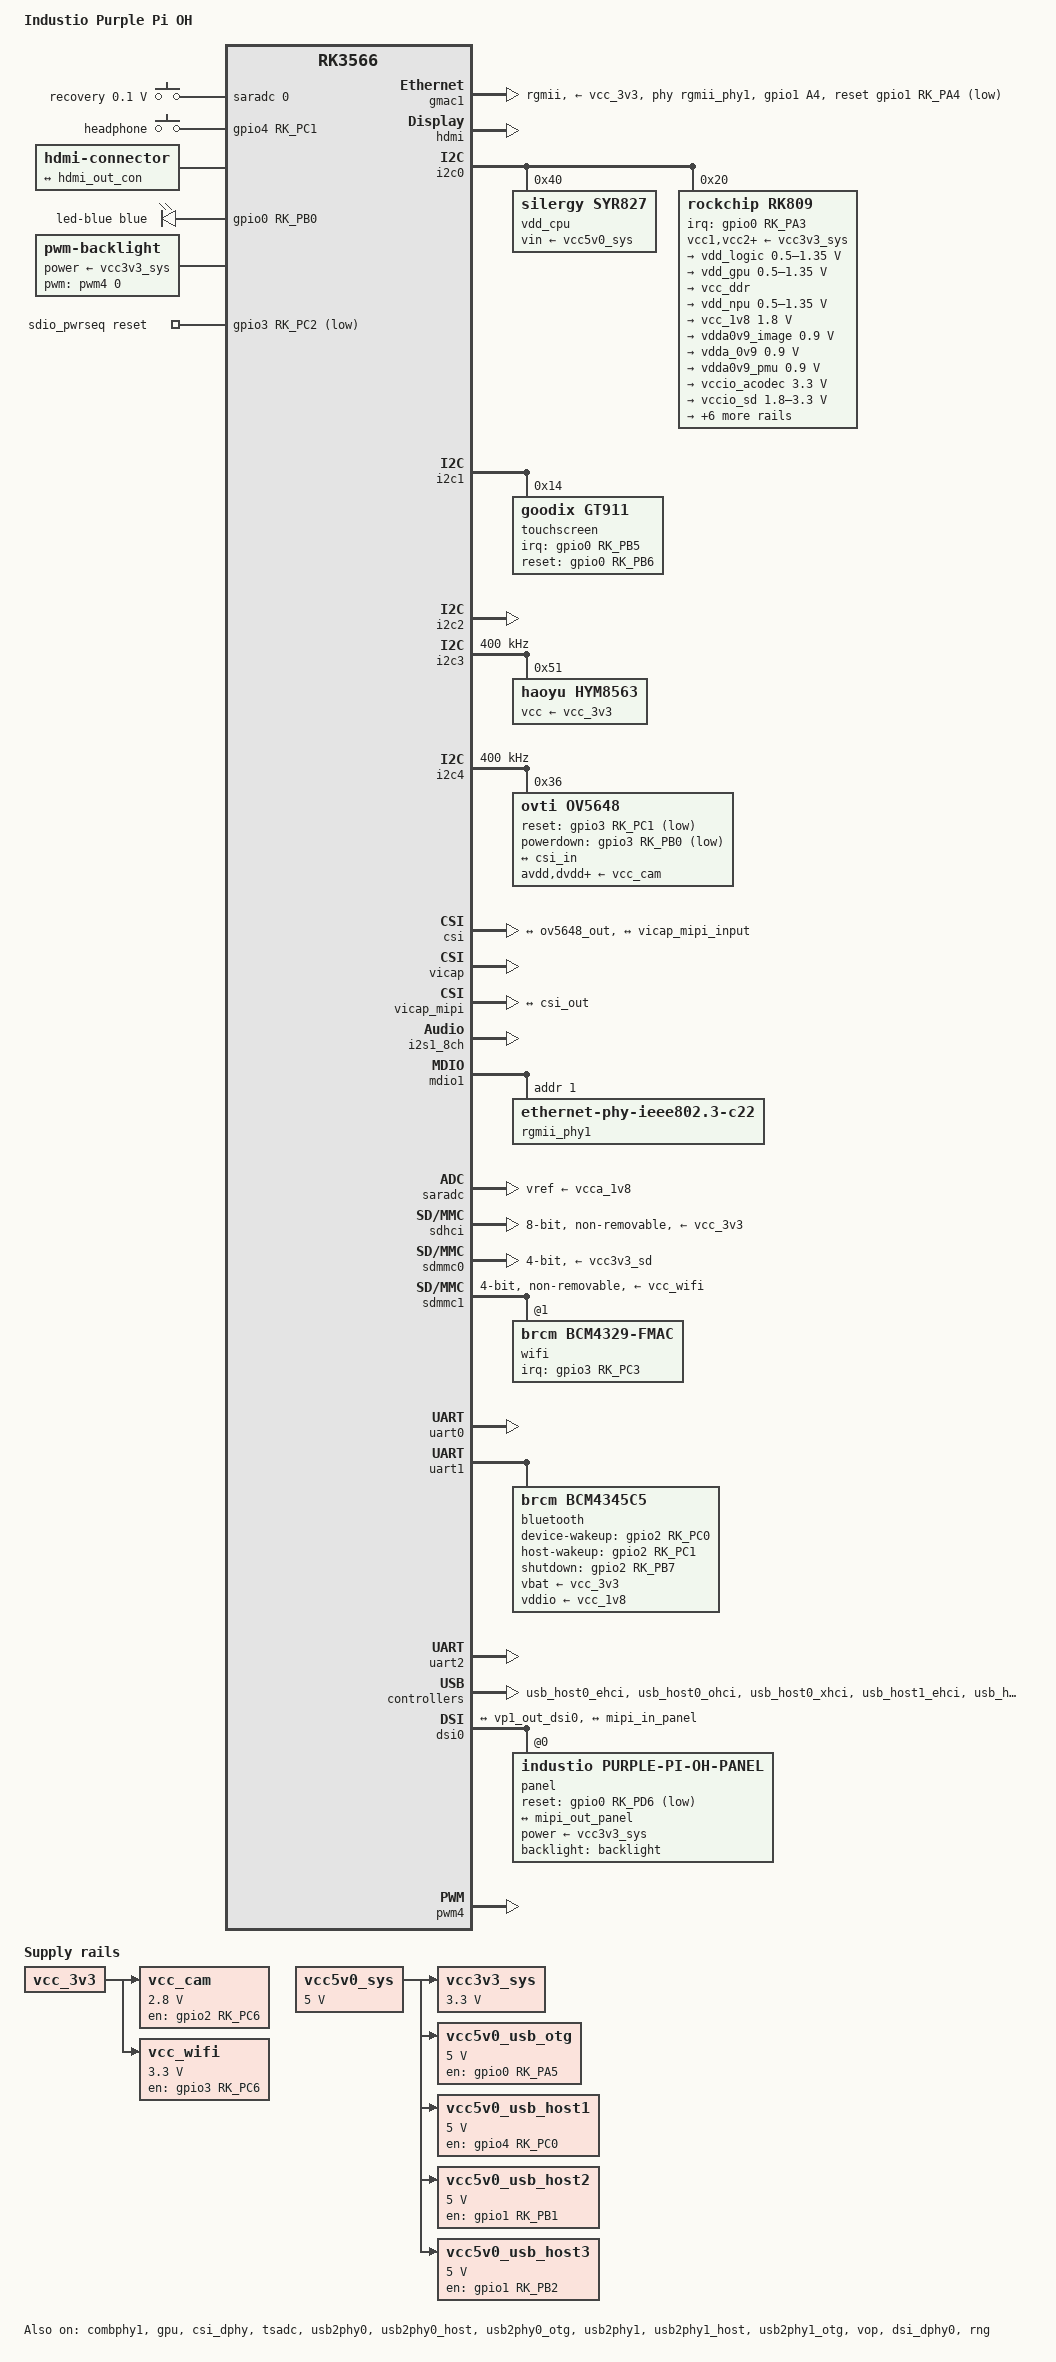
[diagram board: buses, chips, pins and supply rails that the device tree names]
// SPDX-License-Identifier: (GPL-2.0+ OR MIT)
/*
 * Purple Pi OH (Industio / 触觉智能) - RK3566
 *
 * Based on the Purple Pi OH V1 schematic (2023-06-19) and the vendor
 * boot log.  Key differences from the Radxa ZERO 3W:
 *   - RK809-5 PMIC (not RK817)
 *   - SYR837 CPU buck at I2C0 0x40
 *   - VCCIO5 is 1.8V (GMAC1 / WiFi / camera)
 *   - WiFi: WL_REG_ON=GPIO3_C2, WL_HOST_WAKE=GPIO3_C3
 *   - BT:   BT_REG_ON=GPIO2_B7, BT_WAKE=GPIO2_C0, HOST_WAKE=GPIO2_C1
 *   - GMAC1 + RTL8211F, reset GPIO1_A4
 *   - microSD on SDMMC0, card detect GPIO0_A4
 */

/dts-v1/;

#include <dt-bindings/gpio/gpio.h>
#include <dt-bindings/input/linux-event-codes.h>
#include <dt-bindings/interrupt-controller/irq.h>
#include <dt-bindings/leds/common.h>
#include <dt-bindings/media/video-interfaces.h>
#include <dt-bindings/pinctrl/rockchip.h>
#include <dt-bindings/soc/rockchip,vop2.h>
#include "rk3566.dtsi"

/ {
	model = "Industio Purple Pi OH";
	compatible = "industio,purple-pi-oh", "rockchip,rk3566";

	aliases {
		ethernet0 = &gmac1;
		mmc0 = &sdhci;
		mmc1 = &sdmmc0;
		mmc2 = &sdmmc1;
		rtc1 = &rk809;
	};

	chosen {
		stdout-path = "serial2:1500000n8";
	};

	/*
	 * SARADC_VIN0_KEY / RECOVERY (SW1).  The vendor DT uses a resistor
	 * ladder; on this board the key pulls the channel to ground through
	 * R313 (100R).  Unpressed the channel sits at the 1.8V reference
	 * (raw 1023), so keep the key-up threshold just below full scale.
	 */
	adc-keys {
		compatible = "adc-keys";
		io-channels = <&saradc 0>;
		io-channel-names = "buttons";
		keyup-threshold-microvolt = <1700000>;
		poll-interval = <100>;

		button-recovery {
			label = "recovery";
			/*
			 * Do not use KEY_RESTART here: systemd-logind treats it as
			 * the reboot key (HandleRebootKey=reboot) and reboots the
			 * board as soon as the button is pressed.  KEY_PROG1 only
			 * generates an input event.
			 */
			linux,code = <KEY_PROG1>;
			press-threshold-microvolt = <100000>;
		};
	};

	/*
	 * Headphone jack detect (HP_DET, GPIO4_C1).  The jack switch is
	 * closed to ground when the socket is empty and opens when a plug
	 * is inserted, so the line floats high via the SoC pull-up while
	 * headphones are plugged in (measured on the board).
	 */
	hp-det {
		compatible = "gpio-keys";
		pinctrl-names = "default";
		pinctrl-0 = <&hp_det_h>;

		headphone-switch {
			label = "headphone";
			gpios = <&gpio4 RK_PC1 GPIO_ACTIVE_HIGH>;
			linux,input-type = <EV_SW>;
			linux,code = <SW_HEADPHONE_INSERT>;
			debounce-interval = <100>;
		};
	};

	hdmi-con {
		compatible = "hdmi-connector";
		type = "a";

		port {
			hdmi_con_in: endpoint {
				remote-endpoint = <&hdmi_out_con>;
			};
		};
	};

	leds {
		compatible = "gpio-leds";
		pinctrl-names = "default";
		pinctrl-0 = <&working_led>;

		led-blue {
			color = <LED_COLOR_ID_BLUE>;
			function = LED_FUNCTION_HEARTBEAT;
			gpios = <&gpio0 RK_PB0 GPIO_ACTIVE_HIGH>;
			linux,default-trigger = "heartbeat";
		};
	};

	backlight: backlight {
		compatible = "pwm-backlight";
		brightness-levels = <0 4 8 16 32 64 96 128 160 192 224 255>;
		default-brightness-level = <9>;
		power-supply = <&vcc3v3_sys>;
		pwms = <&pwm4 0 25000 0>;
	};

	rk809-sound {
		compatible = "simple-audio-card";
		simple-audio-card,format = "i2s";
		simple-audio-card,name = "Analog RK809";
		simple-audio-card,mclk-fs = <256>;
		status = "okay";

		simple-audio-card,cpu {
			sound-dai = <&i2s1_8ch>;
		};

		simple-audio-card,codec {
			sound-dai = <&rk809>;
		};
	};

	sdio_pwrseq: sdio-pwrseq {
		compatible = "mmc-pwrseq-simple";
		clocks = <&rk809 1>;
		clock-names = "ext_clock";
		pinctrl-names = "default";
		pinctrl-0 = <&wifi_reg_on_h>;
		post-power-on-delay-ms = <100>;
		power-off-delay-us = <5000000>;
		reset-gpios = <&gpio3 RK_PC2 GPIO_ACTIVE_LOW>;
	};

	vcc5v0_sys: regulator-vcc5v0-sys {
		compatible = "regulator-fixed";
		regulator-name = "vcc5v0_sys";
		regulator-always-on;
		regulator-boot-on;
		regulator-min-microvolt = <5000000>;
		regulator-max-microvolt = <5000000>;
	};

	vcc3v3_sys: regulator-vcc3v3-sys {
		compatible = "regulator-fixed";
		regulator-name = "vcc3v3_sys";
		regulator-always-on;
		regulator-boot-on;
		regulator-min-microvolt = <3300000>;
		regulator-max-microvolt = <3300000>;
		vin-supply = <&vcc5v0_sys>;
	};

	/*
	 * The MIPI CSI connector (J22) has three LDOs (2.8V, 1.8V, 1.5V),
	 * all gated by the same Camera_EN signal (GPIO2_C6, active high).
	 * Model them as one fixed supply: the OV5648 driver only enables and
	 * disables the rails, it never changes their voltage, and a fixed
	 * regulator must not advertise a voltage range.  Keep it off until
	 * streaming; the sensor does not need power at probe time.
	 */
	vcc_cam: regulator-vcc-cam {
		compatible = "regulator-fixed";
		enable-active-high;
		gpios = <&gpio2 RK_PC6 GPIO_ACTIVE_HIGH>;
		pinctrl-names = "default";
		pinctrl-0 = <&camera_pwren_h>;
		regulator-name = "vcc_cam";
		regulator-min-microvolt = <2800000>;
		regulator-max-microvolt = <2800000>;
		vin-supply = <&vcc_3v3>;
	};

	vcc_wifi: regulator-vcc-wifi {
		compatible = "regulator-fixed";
		enable-active-high;
		gpios = <&gpio3 RK_PC6 GPIO_ACTIVE_HIGH>;
		pinctrl-names = "default";
		pinctrl-0 = <&wifi_pwren_h>;
		regulator-name = "vcc_wifi";
		/*
		 * Do not keep this always-on: the SDIO host must be able to cut
		 * power to the BCM43455 so that a warm reboot (or an unbind/
		 * bind cycle) really resets the chip instead of leaving its
		 * firmware wedged.
		 */
		regulator-boot-on;
		regulator-min-microvolt = <3300000>;
		regulator-max-microvolt = <3300000>;
		vin-supply = <&vcc_3v3>;
	};

	vcc5v0_usb_otg: regulator-vcc5v0-usb-otg {
		compatible = "regulator-fixed";
		enable-active-high;
		gpios = <&gpio0 RK_PA5 GPIO_ACTIVE_HIGH>;
		pinctrl-names = "default";
		pinctrl-0 = <&usb_otg_pwren_h>;
		regulator-name = "vcc5v0_usb_otg";
		regulator-min-microvolt = <5000000>;
		regulator-max-microvolt = <5000000>;
		vin-supply = <&vcc5v0_sys>;
	};

	vcc5v0_usb_host1: regulator-vcc5v0-usb-host1 {
		compatible = "regulator-fixed";
		enable-active-high;
		gpios = <&gpio4 RK_PC0 GPIO_ACTIVE_HIGH>;
		pinctrl-names = "default";
		pinctrl-0 = <&usb_host1_pwren_h>;
		regulator-name = "vcc5v0_usb_host1";
		regulator-min-microvolt = <5000000>;
		regulator-max-microvolt = <5000000>;
		vin-supply = <&vcc5v0_sys>;
	};

	vcc5v0_usb_host2: regulator-vcc5v0-usb-host2 {
		compatible = "regulator-fixed";
		enable-active-high;
		gpios = <&gpio1 RK_PB1 GPIO_ACTIVE_HIGH>;
		pinctrl-names = "default";
		pinctrl-0 = <&usb_host2_pwren_h>;
		regulator-name = "vcc5v0_usb_host2";
		regulator-min-microvolt = <5000000>;
		regulator-max-microvolt = <5000000>;
		vin-supply = <&vcc5v0_sys>;
	};

	vcc5v0_usb_host3: regulator-vcc5v0-usb-host3 {
		compatible = "regulator-fixed";
		enable-active-high;
		gpios = <&gpio1 RK_PB2 GPIO_ACTIVE_HIGH>;
		pinctrl-names = "default";
		pinctrl-0 = <&usb_host3_pwren_h>;
		regulator-name = "vcc5v0_usb_host3";
		regulator-min-microvolt = <5000000>;
		regulator-max-microvolt = <5000000>;
		vin-supply = <&vcc5v0_sys>;
	};
};

/* USB3 host (usb_host0_xhci) uses this PHY. */
&combphy1 {
	status = "okay";
};

&cpu0 {
	cpu-supply = <&vdd_cpu>;
};

&cpu1 {
	cpu-supply = <&vdd_cpu>;
};

&cpu2 {
	cpu-supply = <&vdd_cpu>;
};

&cpu3 {
	cpu-supply = <&vdd_cpu>;
};

&gmac1 {
	/*
	 * The PHY's CLKOUT only provides 25 MHz, which is not enough for
	 * 1000BASE-T.  Feed the MAC from the internal 125 MHz clock instead;
	 * the MAC still generates TXC for the PHY.
	 */
	assigned-clocks = <&cru SCLK_GMAC1_RX_TX>, <&cru SCLK_GMAC1>;
	assigned-clock-parents = <&cru SCLK_GMAC1_RGMII_SPEED>, <&cru CLK_MAC1_2TOP>;
	assigned-clock-rates = <0>, <125000000>;
	clock_in_out = "input";
	phy-handle = <&rgmii_phy1>;
	/*
	 * Actual PHY is a Motorcomm YT8531 (ID 0x4f51e91b) on address 1;
	 * the vendor schematic labels it RTL8211F.  The board straps the
	 * PHY's internal RGMII delays off, so use MAC-side delays.
	 */
	phy-mode = "rgmii";
	tx_delay = <0x32>;
	rx_delay = <0x26>;
	phy-supply = <&vcc_3v3>;
	/*
	 * Drive PHY reset from the MAC before the MDIO bus is scanned.
	 */
	snps,reset-gpio = <&gpio1 RK_PA4 GPIO_ACTIVE_LOW>;
	snps,reset-delays-us = <0 50000 100000>;
	pinctrl-names = "default";
	pinctrl-0 = <&gmac1m0_miim
		     &gmac1m0_tx_bus2
		     &gmac1m0_rx_bus2
		     &gmac1m0_rgmii_clk
		     &gmac1m0_rgmii_bus
		     &gmac1m0_clkinout
		     &gmac1_rstn>;
	status = "okay";
};

&gpu {
	mali-supply = <&vdd_gpu>;
	status = "okay";
};

&hdmi {
	avdd-0v9-supply = <&vdda0v9_image>;
	avdd-1v8-supply = <&vcca1v8_image>;
	status = "okay";
};

&hdmi_in {
	hdmi_in_vp0: endpoint {
		remote-endpoint = <&vp0_out_hdmi>;
	};
};

&hdmi_out {
	hdmi_out_con: endpoint {
		remote-endpoint = <&hdmi_con_in>;
	};
};

&i2c0 {
	status = "okay";

	vdd_cpu: regulator@40 {
		compatible = "silergy,syr827";
		reg = <0x40>;
		fcs,suspend-voltage-selector = <1>;
		regulator-name = "vdd_cpu";
		regulator-always-on;
		regulator-boot-on;
		regulator-min-microvolt = <712500>;
		regulator-max-microvolt = <1390000>;
		regulator-ramp-delay = <2300>;
		vin-supply = <&vcc5v0_sys>;

		regulator-state-mem {
			regulator-off-in-suspend;
		};
	};

	rk809: pmic@20 {
		compatible = "rockchip,rk809";
		reg = <0x20>;
		interrupt-parent = <&gpio0>;
		interrupts = <RK_PA3 IRQ_TYPE_LEVEL_LOW>;
		#clock-cells = <1>;
		#sound-dai-cells = <0>;
		clock-output-names = "rk808-clkout1", "rk808-clkout2";
		assigned-clocks = <&cru I2S1_MCLKOUT_TX>;
		assigned-clock-parents = <&cru CLK_I2S1_8CH_TX>;
		clocks = <&cru I2S1_MCLKOUT_TX>;
		clock-names = "mclk";
		pinctrl-names = "default";
		pinctrl-0 = <&pmic_int_l>, <&i2s1m0_mclk>;
		system-power-controller;
		wakeup-source;

		vcc1-supply = <&vcc3v3_sys>;
		vcc2-supply = <&vcc3v3_sys>;
		vcc3-supply = <&vcc3v3_sys>;
		vcc4-supply = <&vcc3v3_sys>;
		vcc5-supply = <&vcc3v3_sys>;
		vcc6-supply = <&vcc3v3_sys>;
		vcc7-supply = <&vcc3v3_sys>;
		vcc8-supply = <&vcc3v3_sys>;
		vcc9-supply = <&vcc3v3_sys>;

		codec {
			/* MIC2_IN is single-ended on this board */
		};

		regulators {
			vdd_logic: DCDC_REG1 {
				regulator-name = "vdd_logic";
				regulator-always-on;
				regulator-boot-on;
				regulator-initial-mode = <0x2>;
				regulator-min-microvolt = <500000>;
				regulator-max-microvolt = <1350000>;
				regulator-ramp-delay = <6001>;

				regulator-state-mem {
					regulator-off-in-suspend;
					regulator-suspend-microvolt = <900000>;
				};
			};

			vdd_gpu: DCDC_REG2 {
				regulator-name = "vdd_gpu";
				regulator-always-on;
				regulator-boot-on;
				regulator-initial-mode = <0x2>;
				regulator-min-microvolt = <500000>;
				regulator-max-microvolt = <1350000>;
				regulator-ramp-delay = <6001>;

				regulator-state-mem {
					regulator-off-in-suspend;
				};
			};

			vcc_ddr: DCDC_REG3 {
				regulator-name = "vcc_ddr";
				regulator-always-on;
				regulator-boot-on;
				regulator-initial-mode = <0x2>;

				regulator-state-mem {
					regulator-on-in-suspend;
				};
			};

			vdd_npu: DCDC_REG4 {
				regulator-name = "vdd_npu";
				regulator-always-on;
				regulator-boot-on;
				regulator-initial-mode = <0x2>;
				regulator-min-microvolt = <500000>;
				regulator-max-microvolt = <1350000>;
				regulator-ramp-delay = <6001>;

				regulator-state-mem {
					regulator-off-in-suspend;
				};
			};

			vcc_1v8: DCDC_REG5 {
				regulator-name = "vcc_1v8";
				regulator-always-on;
				regulator-boot-on;
				regulator-min-microvolt = <1800000>;
				regulator-max-microvolt = <1800000>;

				regulator-state-mem {
					regulator-off-in-suspend;
				};
			};

			vdda0v9_image: LDO_REG1 {
				regulator-name = "vdda0v9_image";
				regulator-always-on;
				regulator-boot-on;
				regulator-min-microvolt = <900000>;
				regulator-max-microvolt = <900000>;

				regulator-state-mem {
					regulator-off-in-suspend;
				};
			};

			vdda_0v9: LDO_REG2 {
				regulator-name = "vdda_0v9";
				regulator-always-on;
				regulator-boot-on;
				regulator-min-microvolt = <900000>;
				regulator-max-microvolt = <900000>;

				regulator-state-mem {
					regulator-off-in-suspend;
				};
			};

			vdda0v9_pmu: LDO_REG3 {
				regulator-name = "vdda0v9_pmu";
				regulator-always-on;
				regulator-boot-on;
				regulator-min-microvolt = <900000>;
				regulator-max-microvolt = <900000>;

				regulator-state-mem {
					regulator-on-in-suspend;
					regulator-suspend-microvolt = <900000>;
				};
			};

			vccio_acodec: LDO_REG4 {
				regulator-name = "vccio_acodec";
				regulator-always-on;
				regulator-boot-on;
				regulator-min-microvolt = <3300000>;
				regulator-max-microvolt = <3300000>;

				regulator-state-mem {
					regulator-off-in-suspend;
				};
			};

			vccio_sd: LDO_REG5 {
				regulator-name = "vccio_sd";
				regulator-always-on;
				regulator-boot-on;
				regulator-min-microvolt = <1800000>;
				regulator-max-microvolt = <3300000>;

				regulator-state-mem {
					regulator-off-in-suspend;
				};
			};

			vcc3v3_pmu: LDO_REG6 {
				regulator-name = "vcc3v3_pmu";
				regulator-always-on;
				regulator-boot-on;
				regulator-min-microvolt = <3300000>;
				regulator-max-microvolt = <3300000>;

				regulator-state-mem {
					regulator-on-in-suspend;
					regulator-suspend-microvolt = <3300000>;
				};
			};

			vcca_1v8: LDO_REG7 {
				regulator-name = "vcca_1v8";
				regulator-always-on;
				regulator-boot-on;
				regulator-min-microvolt = <1800000>;
				regulator-max-microvolt = <1800000>;

				regulator-state-mem {
					regulator-off-in-suspend;
				};
			};

			vcca1v8_pmu: LDO_REG8 {
				regulator-name = "vcca1v8_pmu";
				regulator-always-on;
				regulator-boot-on;
				regulator-min-microvolt = <1800000>;
				regulator-max-microvolt = <1800000>;

				regulator-state-mem {
					regulator-on-in-suspend;
					regulator-suspend-microvolt = <1800000>;
				};
			};

			vcca1v8_image: LDO_REG9 {
				regulator-name = "vcca1v8_image";
				regulator-always-on;
				regulator-boot-on;
				regulator-min-microvolt = <1800000>;
				regulator-max-microvolt = <1800000>;

				regulator-state-mem {
					regulator-off-in-suspend;
				};
			};

			vcc_3v3: SWITCH_REG1 {
				regulator-name = "vcc_3v3";
				regulator-always-on;
				regulator-boot-on;

				regulator-state-mem {
					regulator-on-in-suspend;
				};
			};

			vcc3v3_sd: SWITCH_REG2 {
				regulator-name = "vcc3v3_sd";
				regulator-always-on;
				regulator-boot-on;

				regulator-state-mem {
					regulator-off-in-suspend;
				};
			};
		};
	};
};

&i2c1 {
	status = "okay";

	/*
	 * Goodix GT911 on the MIPI-DSI connector.
	 * From the vendor DTB: i2c1 @0x14, INT=GPIO0_B5, RST=GPIO0_B6.
	 */
	touchscreen@14 {
		compatible = "goodix,gt911";
		reg = <0x14>;
		interrupt-parent = <&gpio0>;
		interrupts = <RK_PB5 IRQ_TYPE_LEVEL_LOW>;
		/*
		 * The mainline goodix driver needs the INT line as a GPIO to do
		 * its reset/address-selection dance; without it the controller
		 * config reads back as zero and no events are generated.
		 */
		irq-gpios = <&gpio0 RK_PB5 GPIO_ACTIVE_HIGH>;
		reset-gpios = <&gpio0 RK_PB6 GPIO_ACTIVE_HIGH>;
		touchscreen-size-x = <800>;
		touchscreen-size-y = <1280>;
		pinctrl-names = "default";
		pinctrl-0 = <&touch_int_l &touch_rst_l>;
		status = "okay";
	};
};

/*
 * 40-pin header J1 pins 3 (SDA) and 5 (SCL).  These are I2C2 m1 on
 * GPIO4_B4/B5, not the m0 pins used by some other RK3566 boards.
 * Leave the bus frequency at the 100 kHz default for long jumper wires.
 */
&i2c2 {
	status = "okay";
	pinctrl-names = "default";
	pinctrl-0 = <&i2c2m1_xfer>;
};

&i2c3 {
	status = "okay";
	pinctrl-names = "default";
	pinctrl-0 = <&i2c3m0_xfer>;
	clock-frequency = <400000>;

	/*
	 * HYM8563 RTC on the i2c3 m0 bus.  Its backup power comes from the
	 * J4 coin cell; without a cell the time is not retained across power
	 * cycles, but the chip itself still works.
	 */
	hym8563: rtc@51 {
		compatible = "haoyu,hym8563";
		reg = <0x51>;
		#clock-cells = <0>;
		clock-output-names = "hym8563-clkout";
		/*
		 * VDD_RTC is fed from VCC_3V3 through D107 when the board is
		 * powered.  Referencing it also makes fw_devlink wait for the
		 * PMIC regulators, so the i2c3 pull-ups (on VCCIO_ACODEC) are at
		 * 3.3V instead of the PMIC's 600mV power-on default.
		 */
		vcc-supply = <&vcc_3v3>;
	};

	/*
	 * MPU6500 G-sensor.  Schematic sheet 15: the INT net is on ball
	 * 1B13 = GPIO1_B0 (not GPIO1_A7, which is I2S1_SDO0_M0 for the
	 * codec).  Both VDD and VDDIO are VCC_3V3.
	 *
	 * U54 is marked "NC/MPU6500" in the schematic value field and does
	 * not ACK at 0x68/0x69 on this unit, so keep it disabled.  Drop this
	 * status line if a populated board is used; the pin mux and supplies
	 * below are correct for the footprint.
	 */
	imu@68 {
		compatible = "invensense,mpu6500";
		reg = <0x68>;
		status = "disabled";
		interrupt-parent = <&gpio1>;
		interrupts = <RK_PB0 IRQ_TYPE_EDGE_RISING>;
		pinctrl-names = "default";
		pinctrl-0 = <&mpu6500_int_h>;
		vdd-supply = <&vcc_3v3>;
		vddio-supply = <&vcc_3v3>;
	};
};

&i2c4 {
	status = "okay";
	pinctrl-names = "default";
	/*
	 * The camera connector uses I2C4 m1 (GPIO2_B1/B2), not the m0 pins
	 * that the SoC dtsi selects by default.
	 */
	pinctrl-0 = <&i2c4m1_xfer>;
	clock-frequency = <400000>;

	/*
	 * OV5648 on the 24-pin MIPI CSI FPC connector (J22).
	 * XVCLK comes from CAM_CLKOUT0 (GPIO4_A7) at 24MHz, 2 data lanes.
	 */
	ov5648: camera@36 {
		compatible = "ovti,ov5648";
		reg = <0x36>;
		clocks = <&cru CLK_CAM0_OUT>;
		assigned-clocks = <&cru CLK_CAM0_OUT>;
		assigned-clock-rates = <24000000>;
		pinctrl-names = "default";
		pinctrl-0 = <&cam_clkout0 &camera_pwdn_l &camera_rst_l>;
		reset-gpios = <&gpio3 RK_PC1 GPIO_ACTIVE_LOW>;
		powerdown-gpios = <&gpio3 RK_PB0 GPIO_ACTIVE_LOW>;
		avdd-supply = <&vcc_cam>;
		dvdd-supply = <&vcc_cam>;
		dovdd-supply = <&vcc_cam>;

		port {
			ov5648_out: endpoint {
				data-lanes = <1 2>;
				link-frequencies = /bits/ 64 <210000000 168000000>;
				remote-endpoint = <&csi_in>;
			};
		};
	};
};

&csi_dphy {
	status = "okay";
};

&csi {
	status = "okay";

	ports {
		port@0 {
			csi_in: endpoint {
				bus-type = <MEDIA_BUS_TYPE_CSI2_DPHY>;
				data-lanes = <1 2>;
				remote-endpoint = <&ov5648_out>;
			};
		};

		port@1 {
			csi_out: endpoint {
				remote-endpoint = <&vicap_mipi_input>;
			};
		};
	};
};

&vicap {
	status = "okay";
};

&vicap_mipi {
	vicap_mipi_input: endpoint {
		remote-endpoint = <&csi_out>;
	};
};

&vicap_mmu {
	status = "okay";
};

&i2s1_8ch {
	pinctrl-names = "default";
	pinctrl-0 = <&i2s1m0_sclktx &i2s1m0_lrcktx &i2s1m0_sdi0 &i2s1m0_sdo0>;
	rockchip,trcm-sync-tx-only;
	status = "okay";
};

&mdio1 {
	rgmii_phy1: ethernet-phy@1 {
		compatible = "ethernet-phy-ieee802.3-c22";
		reg = <0x1>;
	};
};

&pinctrl {
	bluetooth {
		bt_reg_on_h: bt-reg-on-h {
			rockchip,pins = <2 RK_PB7 RK_FUNC_GPIO &pcfg_pull_none>;
		};

		bt_wake_host_h: bt-wake-host-h {
			rockchip,pins = <2 RK_PC0 RK_FUNC_GPIO &pcfg_pull_none>;
		};

		bt_host_wake_h: bt-host-wake-h {
			rockchip,pins = <2 RK_PC1 RK_FUNC_GPIO &pcfg_pull_none>;
		};
	};

	camera {
		camera_pwren_h: camera-pwren-h {
			rockchip,pins = <2 RK_PC6 RK_FUNC_GPIO &pcfg_pull_none>;
		};

		camera_pwdn_l: camera-pwdn-l {
			rockchip,pins = <3 RK_PB0 RK_FUNC_GPIO &pcfg_pull_none>;
		};

		camera_rst_l: camera-rst-l {
			rockchip,pins = <3 RK_PC1 RK_FUNC_GPIO &pcfg_pull_none>;
		};
	};

	gmac1 {
		gmac1_rstn: gmac1-rstn {
			rockchip,pins = <1 RK_PA4 RK_FUNC_GPIO &pcfg_pull_none>;
		};
	};

	headphone {
		hp_det_h: hp-det-h {
			rockchip,pins = <4 RK_PC1 RK_FUNC_GPIO &pcfg_pull_up>;
		};
	};

	leds {
		working_led: working-led {
			rockchip,pins = <0 RK_PB0 RK_FUNC_GPIO &pcfg_pull_none>;
		};
	};

	lcd0 {
		lcd0_rst_l: lcd0-rst-l {
			rockchip,pins = <0 RK_PD6 RK_FUNC_GPIO &pcfg_pull_none>;
		};
	};

	mpu6500 {
		mpu6500_int_h: mpu6500-int-h {
			rockchip,pins = <1 RK_PB0 RK_FUNC_GPIO &pcfg_pull_none>;
		};
	};

	pmic {
		pmic_int_l: pmic-int-l {
			rockchip,pins = <0 RK_PA3 RK_FUNC_GPIO &pcfg_pull_up>;
		};
	};

	touch {
		touch_int_l: touch-int-l {
			rockchip,pins = <0 RK_PB5 RK_FUNC_GPIO &pcfg_pull_up>;
		};

		touch_rst_l: touch-rst-l {
			rockchip,pins = <0 RK_PB6 RK_FUNC_GPIO &pcfg_pull_none>;
		};
	};

	usb {
		usb_otg_pwren_h: usb-otg-pwren-h {
			rockchip,pins = <0 RK_PA5 RK_FUNC_GPIO &pcfg_pull_none>;
		};

		usb_host1_pwren_h: usb-host1-pwren-h {
			rockchip,pins = <4 RK_PC0 RK_FUNC_GPIO &pcfg_pull_none>;
		};

		usb_host2_pwren_h: usb-host2-pwren-h {
			rockchip,pins = <1 RK_PB1 RK_FUNC_GPIO &pcfg_pull_none>;
		};

		usb_host3_pwren_h: usb-host3-pwren-h {
			rockchip,pins = <1 RK_PB2 RK_FUNC_GPIO &pcfg_pull_none>;
		};
	};

	wifi {
		wifi_reg_on_h: wifi-reg-on-h {
			rockchip,pins = <3 RK_PC2 RK_FUNC_GPIO &pcfg_pull_none>;
		};

		wifi_host_wake_h: wifi-host-wake-h {
			rockchip,pins = <3 RK_PC3 RK_FUNC_GPIO &pcfg_pull_none>;
		};

		wifi_pwren_h: wifi-pwren-h {
			rockchip,pins = <3 RK_PC6 RK_FUNC_GPIO &pcfg_pull_none>;
		};
	};
};

/*
 * GPIO line names from the schematic.  These are labels only: they do not
 * change pin muxing, they just make gpioinfo/gpioget usable.
 *
 * Naming rules:
 *   - "J1-<pin>..." for every GPIO routed to the 2x20 header (J1), so the
 *     physical pin number is obvious.
 *   - descriptive net names for board-level control signals and buses.
 *   - "" for pins that are not connected on this board.
 *
 * Header voltage domains (see the PMUIO2 comment below):
 *   J1 pins using GPIO0: PMUIO2 = 3.3V
 *   J1 pins using GPIO3_D: VCCIO6 = 3.3V
 *   J1 pins using GPIO4_A/B/C: VCCIO6/VCCIO7 = 3.3V
 */
&gpio0 {
	gpio-line-names =
		/* GPIO0 A0-A7 */
		"", "TSADC_SHUT_M0", "PMIC_SLEEP", "PMIC_INT",
		"SD_CARD_DETECT", "USB_OTG_PWREN", "", "FLASH_VOL_SEL",
		/* GPIO0 B0-B7 */
		"LED_WORKING", "PMIC_I2C_SCL", "PMIC_I2C_SDA", "TOUCH_I2C_SCL",
		"TOUCH_I2C_SDA", "TOUCH_INT", "TOUCH_RST", "J1-11_GPIO0_B7",
		/* GPIO0 C0-C7 */
		"J1-10_UART0_RX", "J1-8_UART0_TX", "", "BACKLIGHT_PWM",
		"J1-13_GPIO0_C4", "J1-15_GPIO0_C5", "J1-12_GPIO0_C6", "J1-7_GPIO0_C7",
		/* GPIO0 D0-D7 */
		"UART2_RX_DEBUG", "UART2_TX_DEBUG", "", "",
		"", "", "DSI_TX0_RST", "";
};

&gpio1 {
	gpio-line-names =
		/* GPIO1 A0-A7 */
		"RTC_I2C_SDA", "RTC_I2C_SCL", "I2S1_MCLK_PMIC", "I2S1_SCLK_TX_PMIC",
		"ETH_PHY_RESET", "I2S1_LRCK_TX_PMIC", "PDM_CLK_PMIC", "I2S1_SDO0_PMIC",
		/* GPIO1 B0-B7 */
		"IMU_INT", "USB_HOST2_PWREN", "USB_HOST3_PWREN", "I2S1_SDI0_PMIC",
		"EMMC_D0", "EMMC_D1", "EMMC_D2", "EMMC_D3",
		/* GPIO1 C0-C7 */
		"EMMC_D4", "EMMC_D5", "EMMC_D6", "EMMC_D7",
		"EMMC_CMD", "EMMC_CLK", "EMMC_DATA_STROBE", "EMMC_RST",
		/* GPIO1 D0-D7 */
		"", "", "", "",
		"", "SD_D0", "SD_D1", "SD_D2";
};

&gpio2 {
	gpio-line-names =
		/* GPIO2 A0-A7 */
		"SD_D3", "SD_CMD", "SD_CLK", "WIFI_SDIO_D0",
		"WIFI_SDIO_D1", "WIFI_SDIO_D2", "WIFI_SDIO_D3", "WIFI_SDIO_CMD",
		/* GPIO2 B0-B7 */
		"WIFI_SDIO_CLK", "CAMERA_I2C_SDA", "CAMERA_I2C_SCL", "BT_UART_RX",
		"BT_UART_TX", "BT_UART_RTS", "BT_UART_CTS", "BT_REG_ON",
		/* GPIO2 C0-C7 */
		"BT_WAKE_HOST", "BT_HOST_WAKE", "BT_PCM_SCLK", "BT_PCM_LRCK",
		"BT_PCM_SDO", "BT_PCM_SDI", "CAMERA_EN", "",
		/* GPIO2 D0-D7: not routed on this board */
		"", "", "", "", "", "", "", "";
};

&gpio3 {
	gpio-line-names =
		/* GPIO3 A0-A7 */
		"", "", "GMAC1_TXD2", "GMAC1_TXD3",
		"GMAC1_RXD2", "GMAC1_RXD3", "GMAC1_TXCLK", "GMAC1_RXCLK",
		/* GPIO3 B0-B7 */
		"CAMERA_PWDN", "GMAC1_RXD0", "GMAC1_RXD1", "GMAC1_RXDV",
		"ETH_PHY_INT", "GMAC1_TXD0", "GMAC1_TXD1", "GMAC1_TXEN",
		/* GPIO3 C0-C7 */
		"GMAC1_MCLKINOUT", "CAMERA_RESET", "WIFI_REG_ON", "WIFI_WAKE_HOST",
		"GMAC1_MDC", "GMAC1_MDIO", "WIFI_PWREN", "",
		/* GPIO3 D0-D7 */
		"J1-32_GPIO3_D0", "J1-31_GPIO3_D1", "J1-33_GPIO3_D2", "J1-36_GPIO3_D3",
		"J1-16_GPIO3_D4", "J1-18_GPIO3_D5", "J1-38_GPIO3_D6", "J1-35_GPIO3_D7";
};

&gpio4 {
	gpio-line-names =
		/* GPIO4 A0-A7 */
		"", "", "J1-22_GPIO4_A2", "J1-40_GPIO4_A3",
		"J1-29_GPIO4_A4", "J1-37_GPIO4_A5", "", "CAMERA_MCLK",
		/* GPIO4 B0-B7 */
		"", "", "J1-27_GPIO4_B2", "J1-28_GPIO4_B3",
		"J1-3_I2C2_SDA", "J1-5_I2C2_SCL", "", "",
		/* GPIO4 C0-C7 */
		"USB_HOST1_PWREN", "HEADPHONE_DETECT", "J1-23_SPI3_CLK",
		"J1-19_SPI3_MOSI", "J1-26_SPI_CS1",
		"J1-21_SPI3_MISO", "J1-24_SPI3_CS0",
		"HDMI_I2C_SCL",
		/* GPIO4 D0-D7 */
		"HDMI_I2C_SDA", "HDMI_CEC", "", "",
		"", "", "", "";
};

&pmu_io_domains {
	/*
	 * The schematic ties PMUIO2 (GPIO0 B/C bank) to VCC3V3_PMU, and the
	 * vendor DTB says the same.  Keep it at 3.3V so the 40-pin header
	 * pins 7/8/10/11/12/13/15 and the panel reset really are 3.3V.
	 */
	pmuio1-supply = <&vcc3v3_pmu>;
	pmuio2-supply = <&vcc3v3_pmu>;
	vccio1-supply = <&vccio_acodec>;
	vccio2-supply = <&vcc_1v8>;
	vccio3-supply = <&vccio_sd>;
	vccio4-supply = <&vcc_1v8>;
	vccio5-supply = <&vcc_1v8>;
	vccio6-supply = <&vcc_3v3>;
	vccio7-supply = <&vcc_3v3>;
	status = "okay";
};

&saradc {
	vref-supply = <&vcca_1v8>;
	status = "okay";
};

&sdhci {
	bus-width = <8>;
	cap-mmc-highspeed;
	max-frequency = <200000000>;
	mmc-hs200-1_8v;
	no-sd;
	no-sdio;
	non-removable;
	pinctrl-names = "default";
	pinctrl-0 = <&emmc_bus8 &emmc_clk &emmc_cmd &emmc_datastrobe &emmc_rstnout>;
	vmmc-supply = <&vcc_3v3>;
	vqmmc-supply = <&vcc_1v8>;
	status = "okay";
};

&sdmmc0 {
	bus-width = <4>;
	cap-sd-highspeed;
	disable-wp;
	no-mmc;
	no-sdio;
	pinctrl-names = "default";
	pinctrl-0 = <&sdmmc0_bus4 &sdmmc0_clk &sdmmc0_cmd &sdmmc0_det>;
	sd-uhs-sdr50;
	vmmc-supply = <&vcc3v3_sd>;
	vqmmc-supply = <&vccio_sd>;
	status = "okay";
};

&sdmmc1 {
	bus-width = <4>;
	cap-sd-highspeed;
	cap-sdio-irq;
	keep-power-in-suspend;
	mmc-pwrseq = <&sdio_pwrseq>;
	no-mmc;
	no-sd;
	non-removable;
	pinctrl-names = "default";
	pinctrl-0 = <&sdmmc1_bus4 &sdmmc1_clk &sdmmc1_cmd>;
	sd-uhs-sdr50;
	/*
	 * SDR104 (150MHz) triggers occasional SDIO bus errors on this board
	 * ("brcmf_sdio_txfail", "failed backplane access over SDIO"), after
	 * which the firmware stops responding.  SDR50 + 50MHz is stable and
	 * still far more than 2.4GHz/5GHz WiFi needs.
	 */
	max-frequency = <50000000>;
	vmmc-supply = <&vcc_wifi>;
	vqmmc-supply = <&vcc_1v8>;
	#address-cells = <1>;
	#size-cells = <0>;
	status = "okay";

	wifi@1 {
		compatible = "brcm,bcm4329-fmac";
		reg = <1>;
		interrupt-parent = <&gpio3>;
		interrupts = <RK_PC3 IRQ_TYPE_LEVEL_HIGH>;
		interrupt-names = "host-wake";
		pinctrl-names = "default";
		pinctrl-0 = <&wifi_host_wake_h>;
	};
};

&tsadc {
	rockchip,hw-tshut-mode = <1>;
	rockchip,hw-tshut-polarity = <0>;
	status = "okay";
};

/*
 * 40-pin header J1 pins 8 (TX) and 10 (RX).  This is UART0 on
 * GPIO0_C1/C0; it is *not* the UART2 debug console (GPIO0_D0/D1).
 * Exposing it gives the header a usable serial port.
 */
&uart0 {
	pinctrl-names = "default";
	pinctrl-0 = <&uart0_xfer>;
	status = "okay";
};

&uart1 {
	pinctrl-names = "default";
	pinctrl-0 = <&uart1m0_xfer &uart1m0_ctsn &uart1m0_rtsn>;
	uart-has-rtscts;
	status = "okay";

	bluetooth {
		/* Stock DHD reports F1 signature 0x15264345 -> CYW43455 */
		compatible = "brcm,bcm4345c5";
		clocks = <&rk809 1>;
		clock-names = "lpo";
		device-wakeup-gpios = <&gpio2 RK_PC0 GPIO_ACTIVE_HIGH>;
		host-wakeup-gpios = <&gpio2 RK_PC1 GPIO_ACTIVE_HIGH>;
		shutdown-gpios = <&gpio2 RK_PB7 GPIO_ACTIVE_HIGH>;
		max-speed = <1500000>;
		pinctrl-names = "default";
		pinctrl-0 = <&bt_reg_on_h &bt_wake_host_h &bt_host_wake_h>;
		vbat-supply = <&vcc_3v3>;
		vddio-supply = <&vcc_1v8>;
	};
};

&uart2 {
	status = "okay";
};

&usb2phy0 {
	status = "okay";
};

&usb2phy0_host {
	phy-supply = <&vcc5v0_usb_host1>;
	status = "okay";
};

&usb2phy0_otg {
	phy-supply = <&vcc5v0_usb_otg>;
	status = "okay";
};

&usb2phy1 {
	status = "okay";
};

&usb2phy1_host {
	phy-supply = <&vcc5v0_usb_host3>;
	status = "okay";
};

&usb2phy1_otg {
	phy-supply = <&vcc5v0_usb_host2>;
	status = "okay";
};

&usb_host0_ehci {
	status = "okay";
};

&usb_host0_ohci {
	status = "okay";
};

&usb_host0_xhci {
	status = "okay";
};

&usb_host1_ehci {
	status = "okay";
};

&usb_host1_ohci {
	status = "okay";
};

&usb_host1_xhci {
	status = "okay";
};

&vop {
	assigned-clocks = <&cru DCLK_VOP0>, <&cru DCLK_VOP1>;
	assigned-clock-parents = <&pmucru PLL_HPLL>, <&cru PLL_VPLL>;
	status = "okay";
};

&vop_mmu {
	status = "okay";
};

&vp0 {
	vp0_out_hdmi: endpoint@ROCKCHIP_VOP2_EP_HDMI0 {
		reg = <ROCKCHIP_VOP2_EP_HDMI0>;
		remote-endpoint = <&hdmi_in_vp0>;
	};
};

/*
 * MIPI-DSI panel: official Industio 10.1" 800x1280, 4 lanes.
 * Init sequence taken from the vendor DTB (panel-init-sequence), handled by
 * panel-ilitek-ili9881c.c ("industio,purple-pi-oh-panel").
 */
&dsi0 {
	status = "okay";
	#address-cells = <1>;
	#size-cells = <0>;

	panel@0 {
		compatible = "industio,purple-pi-oh-panel", "ilitek,ili9881c";
		reg = <0>;
		backlight = <&backlight>;
		power-supply = <&vcc3v3_sys>;
		reset-gpios = <&gpio0 RK_PD6 GPIO_ACTIVE_LOW>;
		width-mm = <136>;
		height-mm = <217>;
		pinctrl-names = "default";
		pinctrl-0 = <&lcd0_rst_l>;

		port {
			mipi_in_panel: endpoint {
				remote-endpoint = <&mipi_out_panel>;
			};
		};
	};

	ports {
		dsi0_in: port@0 {
			reg = <0>;
			dsi0_in_vp1: endpoint {
				remote-endpoint = <&vp1_out_dsi0>;
			};
		};

		dsi0_out: port@1 {
			reg = <1>;
			mipi_out_panel: endpoint {
				remote-endpoint = <&mipi_in_panel>;
			};
		};
	};
};

&dsi_dphy0 {
	status = "okay";
};

&pwm4 {
	status = "okay";
};

&vp1 {
	vp1_out_dsi0: endpoint@ROCKCHIP_VOP2_EP_MIPI0 {
		reg = <ROCKCHIP_VOP2_EP_MIPI0>;
		remote-endpoint = <&dsi0_in_vp1>;
	};
};

/* Hardware RNG (rk3568-rng).  Disabled in rk3566.dtsi; without it the kernel
 * spends >1s gathering entropy ("random: crng init done" arrives late) and
 * every getrandom() user (sshd, crypto) stalls the boot.
 */
&rng {
	status = "okay";
};
